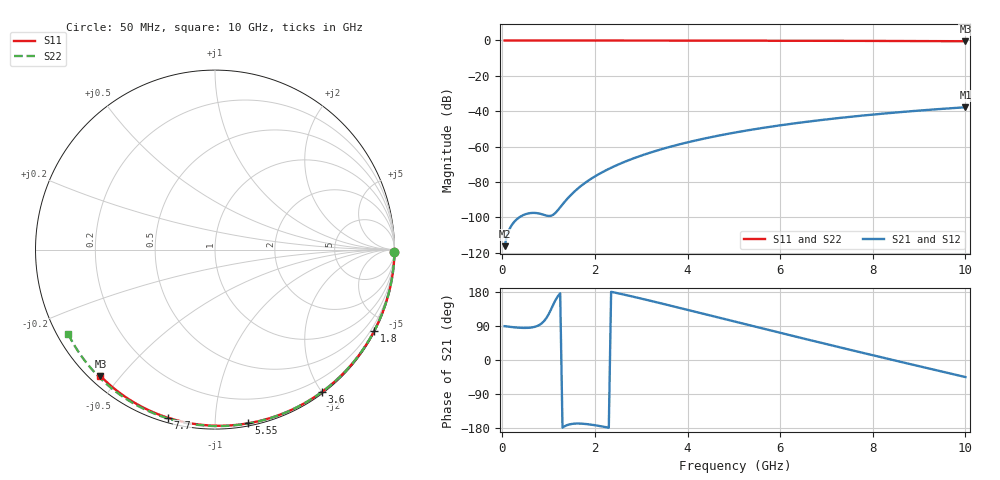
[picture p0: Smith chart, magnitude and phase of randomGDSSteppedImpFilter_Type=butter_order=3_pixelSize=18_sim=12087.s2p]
! freq	dB(S11)	phase(S11)	dB(S12)	phase(S12)
!  dB(S21)	phase(S21)	dB(S22)	phase(S22)
!S-par simulation data
#  GHz  S  DB  R 50
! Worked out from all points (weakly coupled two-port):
!   200 points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, 50 MHz to 10 GHz, reference 50 ohm
!   highest |S21| = -37.79 dB at 10 GHz (marker M1); lowest = -116.4 dB at 50 MHz (marker M2)
!   lowest |S11| = -0.4 dB at 10 GHz (marker M3), VSWR 39.23, Z = 1.52 - j22.2 ohm
!   |S11| at or under -10 dB: nowhere
!   |S22| runs from -0.5 to 0.0 dB; largest |S21 - S12| = 0
!   S11 on the Smith chart (normalised r, x): 50 MHz: open; 1.8 GHz: 0.04, -4.15; 3.6 GHz: 0.02, -2.01; 5.55 GHz: 0.02, -1.21; 7.7 GHz: 0.02, -0.76; 10 GHz: 0.03, -0.44
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0.05  -0.00 -0.8  -116.37 89.2  -116.37 89.2  -0.00 -0.9
0.45  -0.01 -6.9  -98.83 84.7  -98.83 84.7  -0.01 -7.8
0.9  -0.02 -13.7  -98.68 102.4  -98.68 102.4  -0.02 -15.6
1.3  -0.02 -19.7  -92.75 -178.5  -92.75 -178.5  -0.03 -22.4
1.75  -0.03 -26.4  -81.29 -168.3  -81.29 -168.3  -0.04 -30.0
1.8  -0.03 -27.1  -80.33 -168.8  -80.33 -168.8  -0.04 -30.9
1.85  -0.04 -27.8  -79.42 -169.5  -79.42 -169.5  -0.04 -31.7
2  -0.04 -30.0  -76.91 -172.1  -76.91 -172.1  -0.04 -34.2
2.15  -0.04 -32.2  -74.67 -175.2  -74.67 -175.2  -0.05 -36.7
2.5  -0.05 -37.3  -70.22 176.1  -70.22 176.1  -0.05 -42.5
2.9  -0.06 -43.1  -66.06 165.0  -66.06 165.0  -0.06 -49.0
3.4  -0.07 -50.2  -61.80 150.4  -61.80 150.4  -0.08 -57.0
3.6  -0.07 -53.0  -60.32 144.4  -60.32 144.4  -0.08 -60.1
4.3  -0.09 -62.6  -55.84 123.3  -55.84 123.3  -0.10 -71.0
5.05  -0.11 -72.6  -51.97 100.5  -51.97 100.5  -0.13 -82.2
5.55  -0.13 -79.1  -49.78 85.3  -49.78 85.3  -0.15 -89.5
6.1  -0.15 -86.1  -47.64 68.8  -47.64 68.8  -0.17 -97.3
6.7  -0.18 -93.6  -45.60 50.8  -45.60 50.8  -0.21 -105.7
7.7  -0.24 -105.6  -42.70 21.3  -42.70 21.3  -0.27 -119.3
8.35  -0.29 -113.3  -41.09 2.4  -41.09 2.4  -0.33 -128.0
9.2  -0.36 -123.1  -39.26 -22.1  -39.26 -22.1  -0.41 -139.3
10  -0.44 -132.2  -37.79 -45.0  -37.79 -45.0  -0.50 -150.0
